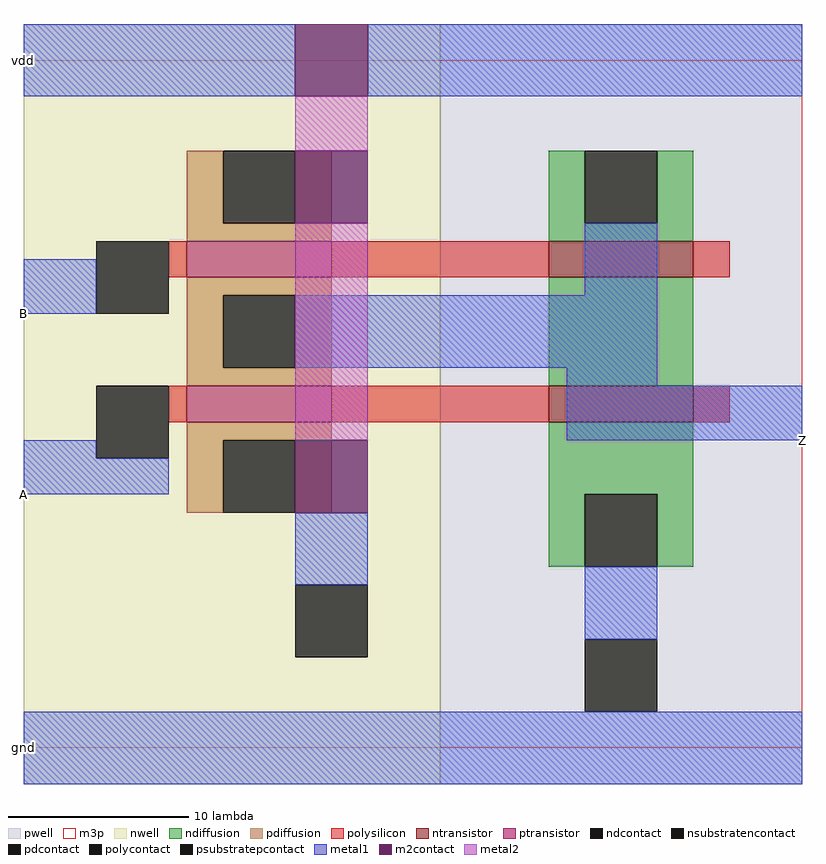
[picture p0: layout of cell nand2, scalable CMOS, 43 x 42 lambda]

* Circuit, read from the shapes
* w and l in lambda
.subckt nand2 A B Z gnd vdd
M1 n1 A gnd gnd nfet w=8 l=2
M2 Z B n1 gnd nfet w=8 l=2
M3 Z A vdd vdd pfet w=8 l=2
M4 vdd B Z vdd pfet w=8 l=2
.ends

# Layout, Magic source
magic
tech scmos
<< nwell >>
rect 0 -2 23 40
<< pwell >>
rect 23 -2 43 40
<< ntransistor >>
rect 29 26 37 28
rect 29 18 37 20
<< ptransistor >>
rect 9 26 17 28
rect 9 18 17 20
<< ndiffusion >>
rect 29 29 31 33
rect 35 29 37 33
rect 29 28 37 29
rect 29 20 37 26
rect 29 14 37 18
rect 29 10 31 14
rect 35 10 37 14
<< pdiffusion >>
rect 9 29 11 33
rect 15 29 17 33
rect 9 28 17 29
rect 9 25 17 26
rect 9 21 11 25
rect 15 21 17 25
rect 9 20 17 21
rect 9 17 17 18
rect 9 13 11 17
rect 15 13 17 17
<< ndcontact >>
rect 31 29 35 33
rect 31 10 35 14
<< pdcontact >>
rect 11 29 15 33
rect 11 21 15 25
rect 11 13 15 17
<< psubstratepcontact >>
rect 31 2 35 6
<< nsubstratencontact >>
rect 15 5 19 9
<< polysilicon >>
rect 8 26 9 28
rect 17 26 29 28
rect 37 26 39 28
rect 8 18 9 20
rect 17 18 29 20
rect 37 18 39 20
<< polycontact >>
rect 4 24 8 28
rect 4 16 8 20
<< metal1 >>
rect 0 36 15 40
rect 19 36 43 40
rect 0 24 4 27
rect 31 25 35 29
rect 15 21 35 25
rect 30 20 35 21
rect 0 16 4 17
rect 30 17 43 20
rect 0 14 8 16
rect 15 9 19 13
rect 31 6 35 10
rect 0 -2 43 2
<< m2contact >>
rect 15 36 19 40
rect 15 29 19 33
rect 15 13 19 17
<< metal2 >>
rect 15 33 19 36
rect 15 17 19 29
<< m3p >>
rect 0 0 43 38
<< labels >>
rlabel metal1 0 38 0 38 4 vdd
rlabel metal1 0 0 0 0 2 gnd
rlabel metal1 0 24 0 24 1 B
rlabel metal1 43 17 43 17 7 Z
rlabel metal1 0 14 0 14 1 A
<< end >>
